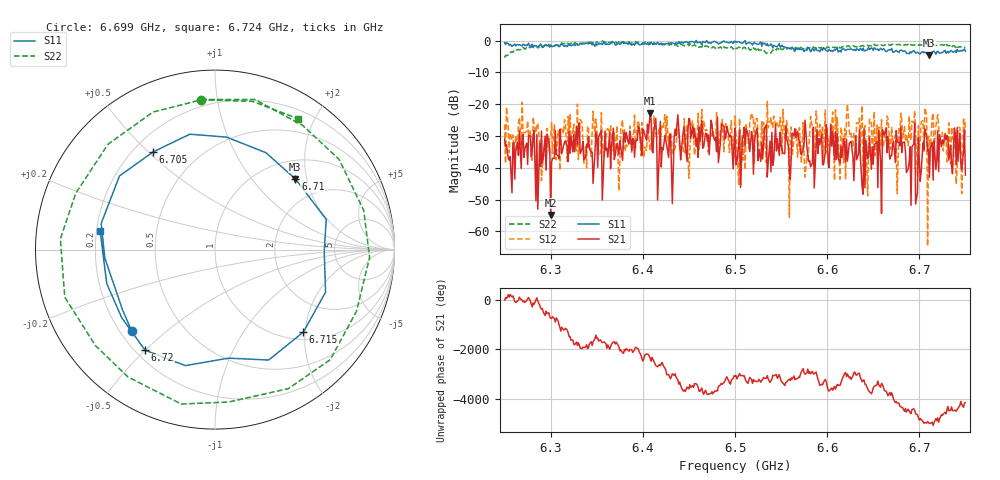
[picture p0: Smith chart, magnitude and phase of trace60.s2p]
# Hz S RI R 50
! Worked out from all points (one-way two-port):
!   401 points, 6.25 GHz to 6.75 GHz, reference 50 ohm
!   highest |S21| = -22.76 dB at 6.408 GHz (marker M1); lowest = -54.9 dB at 6.3 GHz (marker M2)
!   lowest |S11| = -4.5 dB at 6.71 GHz (marker M3), VSWR 3.95, Z = 70 + j85.5 ohm
!   |S11| at or under -10 dB: nowhere
!   |S22| runs from -5.3 to 0.0 dB; largest |S21 - S12| = 0.13
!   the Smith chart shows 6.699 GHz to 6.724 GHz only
!   S11 on the Smith chart (normalised r, x): 6.699 GHz: 0.25, -0.38; 6.705 GHz: 0.28, +0.52; 6.71 GHz: 1.40, +1.71; 6.715 GHz: 1.16, -1.96; 6.72 GHz: 0.24, -0.50; 6.724 GHz: 0.21, +0.08
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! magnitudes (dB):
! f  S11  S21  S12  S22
! 6.25 GHz  -0.7  -30.8  -26.4  -5.3
! 6.284 GHz  -1.6  -50.4  -29.0  -1.8
! 6.292 GHz  -2.1  -36.7  -36.9  -1.7
! 6.3 GHz  -1.6  -54.9  -30.5  -1.4
! 6.334 GHz  -1.1  -34.0  -25.7  -0.9
! 6.408 GHz  -1.1  -22.8  -34.6  -0.6
! 6.418 GHz  -1.3  -33.4  -27.3  -1.2
! 6.451 GHz  -0.3  -25.0  -35.3  -1.0
! 6.5 GHz  -0.5  -27.5  -23.7  -2.1
! 6.538 GHz  -1.5  -31.6  -25.6  -3.8
! 6.565 GHz  -3.4  -27.7  -28.8  -2.3
! 6.584 GHz  -2.5  -38.6  -27.4  -2.5
! 6.668 GHz  -2.8  -37.3  -32.8  -1.5
! 6.678 GHz  -3.7  -32.3  -27.1  -1.2
! 6.699 GHz  -3.8  -30.5  -26.8  -1.5
! 6.705 GHz  -3.8  -34.3  -34.8  -1.3
! 6.71 GHz  -4.5  -34.3  -30.0  -1.4
! 6.715 GHz  -3.4  -43.9  -22.8  -1.1
! 6.72 GHz  -3.3  -28.3  -23.3  -1.5
! 6.724 GHz  -3.8  -33.4  -30.2  -1.3
! 6.739 GHz  -3.2  -29.1  -34.4  -2.1
! 6.75 GHz  -3.4  -42.3  -24.8  -2.2
